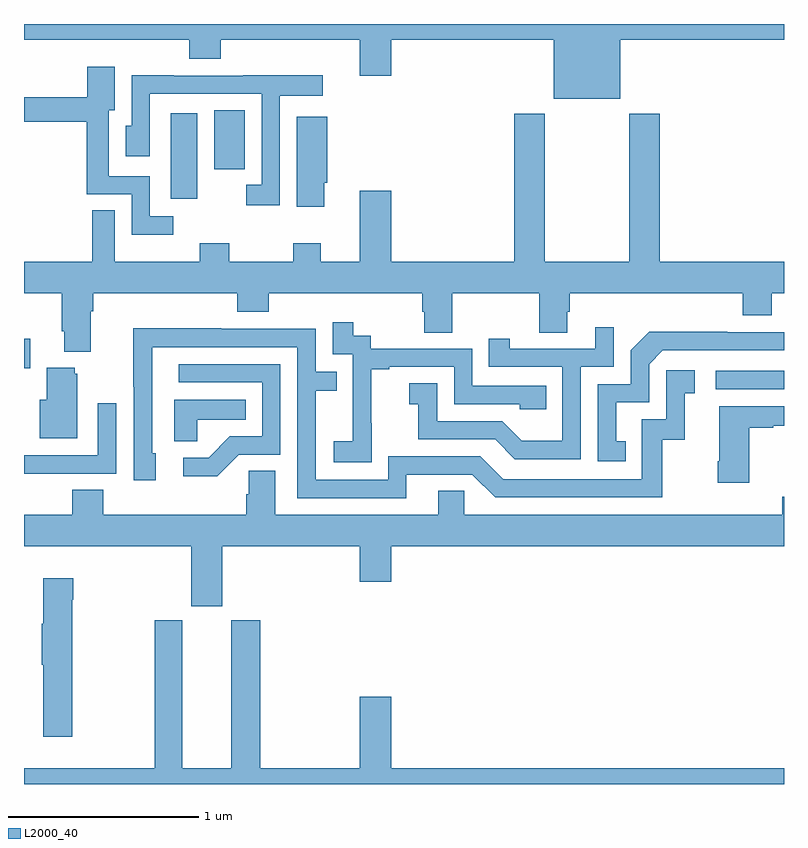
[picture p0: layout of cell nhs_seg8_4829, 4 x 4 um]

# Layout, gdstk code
import gdstk
lib = gdstk.Library(unit=1e-6, precision=1e-09)
def R(c, l, rs):  # rectangles x0, y0, x1, y1
    for r in rs: c.add(gdstk.rectangle(r[:2], r[2:], *l))
def P(c, l, *ps):  # polygons
    for p in ps: c.add(gdstk.Polygon(p, *l))
L2000_40 = (2000, 40)

nhs_seg8_4829 = lib.new_cell('nhs_seg8_4829')
R(nhs_seg8_4829, L2000_40, [(406.641,1131.978,407,1132.074), (403,1132.087,403.033,1132.243), (403.772,1132.98,403.912,1133.431), (404,1133.136,404.161,1133.447)])
P(nhs_seg8_4829, L2000_40, [(406.138,1133.816),(407,1133.816),(407,1133.9),(403,1133.9),(403,1133.816),(403.871,1133.816),(403.871,1133.717),(404.036,1133.717),(404.036,1133.816),(404.768,1133.816),(404.768,1133.628),(404.932,1133.628),(404.932,1133.816),(405.788,1133.816),(405.788,1133.507),(406.138,1133.507)],
  [(403.786,1132.887),(403.662,1132.887),(403.662,1133.1),(403.447,1133.1),(403.447,1133.445),(403.477,1133.445),(403.477,1133.674),(403.334,1133.674),(403.334,1133.515),(403,1133.515),(403,1133.386),(403.329,1133.386),(403.329,1133.004),(403.566,1133.004),(403.566,1132.79),(403.786,1132.79)],
  [(404.346,1133.522),(404.572,1133.522),(404.572,1133.63),(404.153,1133.63),(404.153,1133.628),(403.787,1133.628),(403.787,1133.63),(403.566,1133.63),(403.566,1133.364),(403.535,1133.364),(403.535,1133.205),(403.662,1133.205),(403.662,1133.532),(404.25,1133.532),(404.25,1133.055),(404.169,1133.055),(404.169,1132.947),(404.346,1132.947)],
  [(403.351,1132.388),(403.364,1132.388),(403.364,1132.484),(404.123,1132.484),(404.123,1132.385),(404.288,1132.385),(404.288,1132.484),(405.095,1132.484),(405.095,1132.386),(405.107,1132.386),(405.107,1132.276),(405.255,1132.276),(405.255,1132.484),(405.712,1132.484),(405.712,1132.276),(405.859,1132.276),(405.859,1132.386),(405.872,1132.386),(405.872,1132.484),(406.784,1132.484),(406.784,1132.367),(406.936,1132.367),(406.936,1132.484),(407,1132.484),(407,1132.648),(406.346,1132.648),(406.346,1133.428),(406.186,1133.428),(406.186,1132.648),(405.741,1132.648),(405.741,1133.428),(405.581,1133.428),(405.581,1132.648),(404.932,1132.648),(404.932,1133.023),(404.768,1133.023),(404.768,1132.648),(404.563,1132.648),(404.563,1132.747),(404.416,1132.747),(404.416,1132.648),(404.079,1132.648),(404.079,1132.747),(403.924,1132.747),(403.924,1132.648),(403.477,1132.648),(403.477,1132.919),(403.359,1132.919),(403.359,1132.648),(403,1132.648),(403,1132.484),(403.199,1132.484),(403.199,1132.282),(403.211,1132.282),(403.211,1132.175),(403.351,1132.175)],
  [(404.581,1133.064),(404.596,1133.064),(404.596,1133.413),(404.435,1133.413),(404.435,1132.938),(404.581,1132.938)],
  [(404.829,1131.799),(404.828,1131.799),(404.828,1132.083),(404.923,1132.083),(404.923,1132.095),(405.264,1132.095),(405.264,1131.9),(405.609,1131.9),(405.609,1131.873),(405.749,1131.873),(405.749,1131.996),(405.36,1131.996),(405.36,1132.191),(404.826,1132.191),(404.826,1132.26),(404.734,1132.26),(404.734,1132.33),(404.625,1132.33),(404.625,1132.161),(404.73,1132.161),(404.73,1131.932),(404.729,1131.932),(404.729,1131.703),(404.631,1131.703),(404.631,1131.593),(404.829,1131.593)],
  [(405.93,1132.095),(406.104,1132.095),(406.104,1132.303),(406.007,1132.303),(406.007,1132.191),(405.556,1132.191),(405.556,1132.243),(405.445,1132.243),(405.445,1132.095),(405.834,1132.095),(405.834,1131.706),(405.62,1131.706),(405.516,1131.81),(405.174,1131.81),(405.174,1132.009),(405.027,1132.009),(405.027,1131.899),(405.076,1131.899),(405.076,1131.714),(405.479,1131.714),(405.584,1131.609),(405.93,1131.609)],
  [(405.013,1131.528),(405.36,1131.528),(405.48,1131.408),(406.36,1131.408),(406.36,1131.711),(406.478,1131.711),(406.478,1131.957),(406.531,1131.957),(406.531,1132.078),(406.38,1132.078),(406.38,1131.819),(406.251,1131.819),(406.251,1131.504),(405.522,1131.504),(405.402,1131.624),(404.916,1131.624),(404.916,1131.501),(404.535,1131.501),(404.535,1131.97),(404.645,1131.97),(404.645,1132.071),(404.535,1132.071),(404.535,1132.296),(404.039,1132.296),(404.039,1132.298),(403.576,1132.298),(403.576,1131.991),(403.578,1131.991),(403.578,1131.498),(403.693,1131.498),(403.693,1131.642),(403.674,1131.642),(403.674,1132.2),(404.439,1132.2),(404.439,1131.405),(405.013,1131.405)],
  [(406.166,1131.705),(406.117,1131.705),(406.117,1131.909),(406.29,1131.909),(406.29,1132.11),(406.362,1132.182),(407,1132.182),(407,1132.278),(406.7,1132.278),(406.7,1132.28),(406.292,1132.28),(406.194,1132.182),(406.194,1132.005),(406.02,1132.005),(406.02,1131.6),(406.166,1131.6)],
  [(404.13,1131.633),(404.349,1131.633),(404.349,1132.11),(403.815,1132.11),(403.815,1132.014),(404.253,1132.014),(404.253,1131.729),(404.084,1131.729),(403.973,1131.618),(403.839,1131.618),(403.839,1131.521),(404.017,1131.521)],
  [(403.279,1132.059),(403.268,1132.059),(403.268,1132.09),(403.121,1132.09),(403.121,1131.922),(403.082,1131.922),(403.082,1131.719),(403.279,1131.719)],
  [(403.911,1131.818),(404.168,1131.818),(404.168,1131.922),(403.79,1131.922),(403.79,1131.703),(403.911,1131.703)],
  [(403.169,1131.534),(403.485,1131.534),(403.485,1131.904),(403.389,1131.904),(403.389,1131.63),(403,1131.63),(403,1131.533),(403.169,1131.533)],
  [(406.816,1131.775),(406.943,1131.775),(406.943,1131.785),(407,1131.785),(407,1131.889),(406.658,1131.889),(406.658,1131.598),(406.651,1131.598),(406.651,1131.486),(406.816,1131.486)],
  [(404.768,1130.964),(404.932,1130.964),(404.932,1131.152),(407,1131.152),(407,1131.412),(406.991,1131.412),(406.991,1131.316),(405.318,1131.316),(405.318,1131.443),(405.179,1131.443),(405.179,1131.316),(404.323,1131.316),(404.323,1131.548),(404.184,1131.548),(404.184,1131.425),(404.171,1131.425),(404.171,1131.316),(403.418,1131.316),(403.418,1131.449),(403.253,1131.449),(403.253,1131.316),(403,1131.316),(403,1131.152),(403.88,1131.152),(403.88,1130.835),(404.044,1130.835),(404.044,1131.152),(404.768,1131.152)],
  [(403.254,1130.87),(403.259,1130.87),(403.259,1130.983),(403.1,1130.983),(403.1,1130.744),(403.093,1130.744),(403.093,1130.527),(403.1,1130.527),(403.1,1130.148),(403.254,1130.148)],
  [(407,1129.984),(404.932,1129.984),(404.932,1130.359),(404.768,1130.359),(404.768,1129.984),(404.243,1129.984),(404.243,1130.763),(404.09,1130.763),(404.09,1129.984),(403.834,1129.984),(403.834,1130.763),(403.687,1130.763),(403.687,1129.984),(403,1129.984),(403,1129.9),(407,1129.9)])

lib.write_gds('nhs_seg8_4829.gds')
